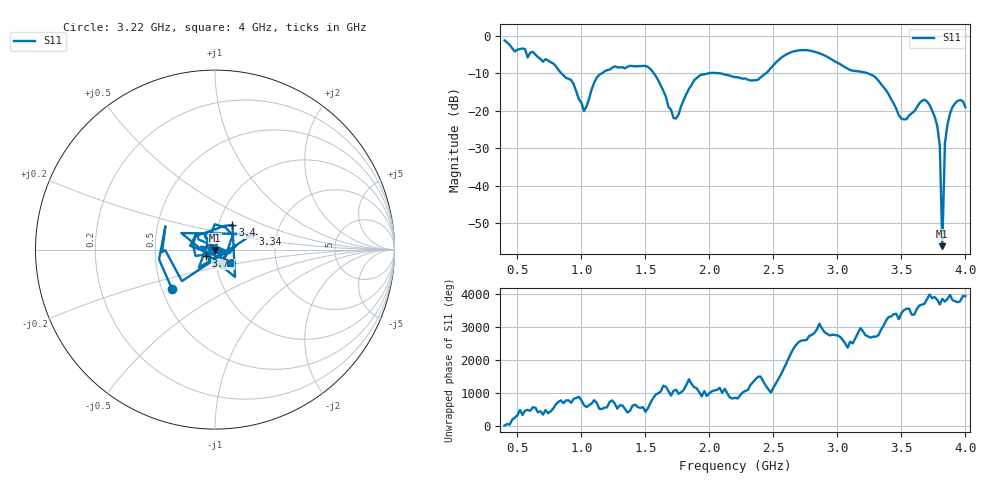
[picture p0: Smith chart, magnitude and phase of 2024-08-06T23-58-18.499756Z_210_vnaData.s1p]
!Created with skrf (http://scikit-rf.org).
# Hz S RI R 50.0
!freq ReS11 ImS11
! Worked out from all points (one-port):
!   181 points, 400 MHz to 4 GHz, reference 50 ohm
!   lowest |S11| = -56.1 dB at 3.82 GHz (marker M1), VSWR 1.00, Z = 49.9 - j0.135 ohm
!   |S11| at or under -10 dB: 1.567 GHz to 1.989 GHz (421.9 MHz wide, 23.7 % of centre); 2.089 GHz to 2.44 GHz (351.1 MHz wide, 15.5 % of centre); 3.241 GHz to end of sweep (the widest 3 of 4)
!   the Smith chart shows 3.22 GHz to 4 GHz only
!   S11 on the Smith chart (normalised r, x): 3.22 GHz: 0.56, -0.28; 3.34 GHz: 1.51, +0.28; 3.4 GHz: 1.17, +0.33; 3.78 GHz: 0.90, -0.07; 4 GHz: 1.16, -0.18
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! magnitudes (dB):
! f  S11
! 400 MHz  -1.2
! 860 MHz  -10.5
! 940 MHz  -12.9
! 1.02 GHz  -20.0
! 1.12 GHz  -11.1
! 1.3 GHz  -8.4
! 1.52 GHz  -8.3
! 1.6 GHz  -11.8
! 1.72 GHz  -21.9
! 1.76 GHz  -20.9
! 1.92 GHz  -10.7
! 2.2 GHz  -11.0
! 2.38 GHz  -11.7
! 2.66 GHz  -4.1
! 3.1 GHz  -9.1
! 3.22 GHz  -9.8
! 3.34 GHz  -12.8
! 3.4 GHz  -15.5
! 3.5 GHz  -22.0
! 3.56 GHz  -21.2
! 3.68 GHz  -17.0
! 3.78 GHz  -24.0
! 3.8 GHz  -29.3
! 3.82 GHz  -56.1
! 3.84 GHz  -28.6
! 3.86 GHz  -23.7
! 3.92 GHz  -18.0
! 4 GHz  -19.0
